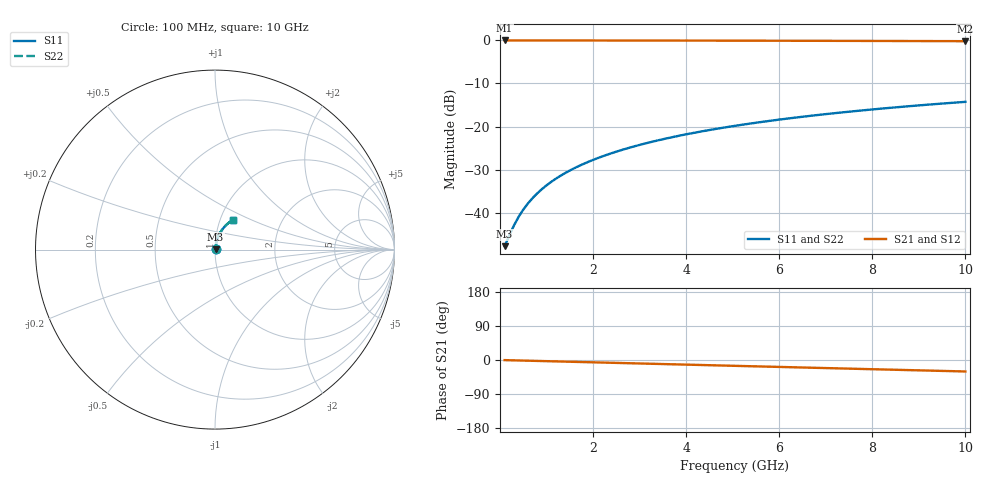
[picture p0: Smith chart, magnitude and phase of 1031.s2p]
# Hz S RI R 50.00
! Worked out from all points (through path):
!   100 points, 100 MHz to 10 GHz, reference 50 ohm
!   highest |S21| = -0.03 dB at 100 MHz (marker M1); lowest = -0.2 dB at 10 GHz (marker M2)
!   group delay of S21, straight-line fit = 8.42 ps
!   lowest |S11| = -47.7 dB at 100 MHz (marker M3), VSWR 1.01, Z = 50.4 + j0.204 ohm
!   |S11| at or under -10 dB: start of sweep to end of sweep
!   |S22| runs from -47.7 to -14.3 dB; largest |S21 - S12| = 0
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1e8  0.00356 0.00203  0.9964 -0.00531  0.9964 -0.00531  0.00356 0.00203
3e8  0.00369 0.00609  0.9963 -0.0159  0.9963 -0.0159  0.00369 0.00609
4e8  0.00378 0.00811  0.9961 -0.0213  0.9961 -0.0213  0.00378 0.00811
5e8  0.00389 0.0101  0.996 -0.0266  0.996 -0.0266  0.00389 0.0101
6e8  0.00401 0.0122  0.9958 -0.0319  0.9958 -0.0319  0.00401 0.0122
7e8  0.00416 0.0142  0.9956 -0.0372  0.9956 -0.0372  0.00416 0.0142
8e8  0.00433 0.0162  0.9953 -0.0425  0.9953 -0.0425  0.00433 0.0162
9e8  0.00452 0.0182  0.995 -0.0478  0.995 -0.0478  0.00452 0.0182
1e9  0.00474 0.0202  0.9947 -0.0531  0.9947 -0.0531  0.00474 0.0202
1.2e9  0.00522 0.0243  0.994 -0.0637  0.994 -0.0637  0.00522 0.0243
1.5e9  0.00611 0.0303  0.9926 -0.0796  0.9926 -0.0796  0.00611 0.0303
1.8e9  0.00719 0.0363  0.991 -0.0954  0.991 -0.0954  0.00719 0.0363
2.1e9  0.00846 0.0422  0.9891 -0.1112  0.9891 -0.1112  0.00846 0.0422
2.5e9  0.0104 0.0501  0.9861 -0.1322  0.9861 -0.1322  0.0104 0.0501
2.9e9  0.0128 0.0578  0.9826 -0.1531  0.9826 -0.1531  0.0128 0.0578
3.4e9  0.0161 0.0674  0.9775 -0.1791  0.9775 -0.1791  0.0161 0.0674
4.2e9  0.0225 0.0822  0.9678 -0.2202  0.9678 -0.2202  0.0225 0.0822
5.1e9  0.0311 0.0981  0.9545 -0.2656  0.9545 -0.2656  0.0311 0.0981
5.9e9  0.04 0.1115  0.9408 -0.3052  0.9408 -0.3052  0.04 0.1115
6.7e9  0.05 0.124  0.9252 -0.344  0.9252 -0.344  0.05 0.124
8.4e9  0.0744 0.1475  0.8866 -0.423  0.8866 -0.423  0.0744 0.1475
1e10  0.1006 0.1652  0.8438 -0.4927  0.8438 -0.4927  0.1006 0.1652
